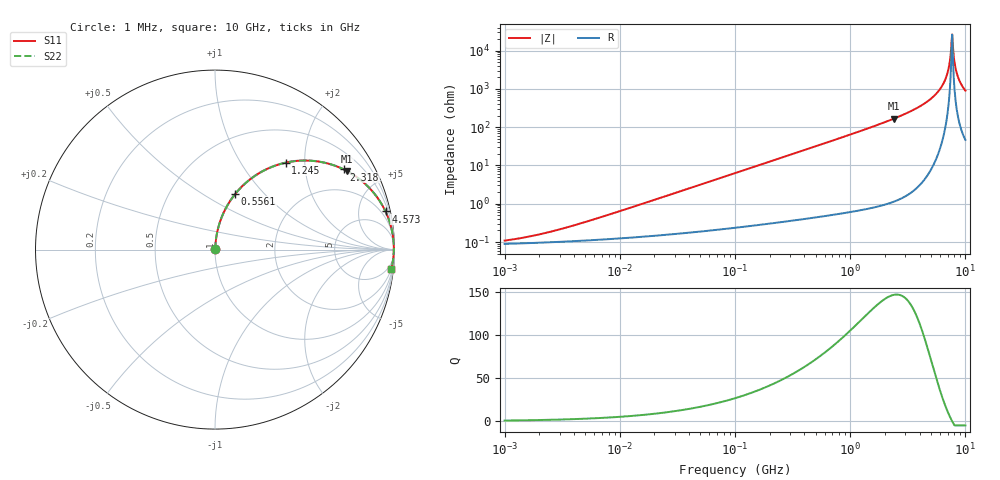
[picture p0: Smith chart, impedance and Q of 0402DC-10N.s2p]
# MHz  S  MA  R  50
!Freq  MagS11  AngS11  MagS21  AngS21  MagS12  AngS12  MagS22  AngS22
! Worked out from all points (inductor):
!   801 points, 1 MHz to 10 GHz, reference 50 ohm
!   read as one part in series: L = 10 nH near 5.309 MHz
!   highest Q = 147 at 2.4 GHz (marker M1), where L = 11.1 nH
!   self-resonance near 7.589 GHz
!   S11 on the Smith chart (normalised r, x): 1 MHz: 1.00, +0.00; 556.1 MHz: 1.01, +0.70; 1.245 GHz: 1.01, +1.61; 2.318 GHz: 1.02, +3.21; 4.573 GHz: 1.10, +8.92; 10 GHz: 2, -18
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1  0.00109 35.1  0.9991 -0.0  0.9991 -0.0  0.00109 35.1
4.67769  0.003128 69.6  0.9989 -0.2  0.9989 -0.2  0.003128 69.6
21.6303  0.01365 83.0  0.9984 -0.8  0.9984 -0.8  0.01365 83.0
100.0216  0.06263 84.3  0.9957 -3.6  0.9957 -3.6  0.06263 84.3
467.8699  0.2819 72.8  0.9554 -16.4  0.9554 -16.4  0.2819 72.8
556.0689  0.3301 70.0  0.9397 -19.3  0.9397 -19.3  0.3301 70.0
1244.93  0.6237 50.9  0.7764 -38.6  0.7764 -38.6  0.6237 50.9
2163.497  0.8254 34.0  0.5589 -55.6  0.5589 -55.6  0.8254 34.0
2318.236  0.8459 31.8  0.5276 -57.8  0.5276 -57.8  0.8459 31.8
2399.708  0.8556 30.8  0.5119 -58.8  0.5119 -58.8  0.8556 30.8
4572.687  0.9735 12.6  0.2183 -76.8  0.2183 -76.8  0.9735 12.6
5625.689  0.989 7.4  0.1292 -81.4  0.1292 -81.4  0.989 7.4
6459.197  0.9944 4.1  0.07122 -83.5  0.07122 -83.5  0.9944 4.1
6921.177  0.9958 2.4  0.04255 -83.2  0.04255 -83.2  0.9958 2.4
7164.414  0.9962 1.6  0.02831 -81.5  0.02831 -81.5  0.9962 1.6
7416.199  0.9963 0.8  0.01426 -74.7  0.01426 -74.7  0.9963 0.8
7676.832  0.9962 -0.0  0.003788 7.2  0.003788 7.2  0.9962 -0.0
7946.626  0.9959 -0.8  0.01528 74.2  0.01528 74.2  0.9959 -0.8
8225.901  0.9954 -1.7  0.02933 80.2  0.02933 80.2  0.9954 -1.7
8613.594  0.9944 -2.8  0.0483 81.9  0.0483 81.9  0.9944 -2.8
9229.662  0.9921 -4.4  0.07691 81.9  0.07691 81.9  0.9921 -4.4
10000  0.9882 -6.3  0.1103 80.7  0.1103 80.7  0.9882 -6.3
